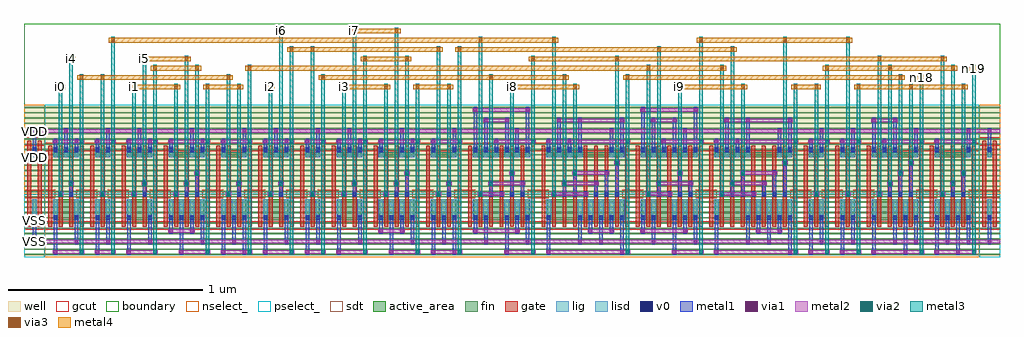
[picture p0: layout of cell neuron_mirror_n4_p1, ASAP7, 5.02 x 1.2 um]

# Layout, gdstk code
import gdstk
lib = gdstk.Library(unit=1e-6, precision=2.5e-10)
def R(c, l, rs):  # rectangles x0, y0, x1, y1
    for r in rs: c.add(gdstk.rectangle(r[:2], r[2:], *l))
def A(c, l, x, y, w, h, nx, ny, dx, dy):  # array of equal rectangles
    R(c, l, [(x+i*dx, y+j*dy, x+i*dx+w, y+j*dy+h) for i in range(nx) for j in range(ny)])
well = (1, 0)
fin = (2, 0)
gate = (7, 0)
gcut = (10, 0)
active_area = (11, 0)
nselect_ = (12, 0)
pselect_ = (13, 0)
lig = (16, 0)
lisd = (17, 0)
v0 = (18, 0)
metal1 = (19, 0)
metal2 = (20, 0)
via1 = (21, 0)
via2 = (25, 0)
metal3 = (30, 0)
via3 = (35, 0)
metal4 = (40, 0)
sdt = (88, 0)
boundary = (100, 0)

neuron_mirror_n4_p1 = lib.new_cell('neuron_mirror_n4_p1')
R(neuron_mirror_n4_p1, well, [(0,0.324,0.108,0.783), (0.108,0.324,0.324,0.783), (0.324,0.324,0.486,0.783), (0.486,0.324,0.702,0.783), (0.702,0.324,0.972,0.783), (0.972,0.324,1.188,0.783), (1.188,0.324,1.404,0.783), (1.404,0.324,1.566,0.783), (1.566,0.324,1.782,0.783), (1.782,0.324,2.052,0.783), (2.052,0.324,2.268,0.783), (2.268,0.324,2.646,0.783), (2.646,0.324,3.132,0.783), (3.132,0.324,3.51,0.783), (3.51,0.324,3.996,0.783), (3.996,0.324,4.158,0.783), (4.158,0.324,4.32,0.783), (4.32,0.324,4.644,0.783), (4.644,0.324,4.914,0.783), (4.914,0.324,5.022,0.783)])
A(neuron_mirror_n4_p1, fin, 0, 0.01, 0.108, 0.007, 1, 29, 0, 0.027)
A(neuron_mirror_n4_p1, fin, 0.108, 0.01, 0.216, 0.007, 1, 29, 0, 0.027)
A(neuron_mirror_n4_p1, fin, 0.324, 0.01, 0.162, 0.007, 1, 29, 0, 0.027)
A(neuron_mirror_n4_p1, fin, 0.486, 0.01, 0.216, 0.007, 1, 29, 0, 0.027)
A(neuron_mirror_n4_p1, fin, 0.702, 0.01, 0.27, 0.007, 1, 29, 0, 0.027)
A(neuron_mirror_n4_p1, fin, 0.972, 0.01, 0.216, 0.007, 1, 29, 0, 0.027)
A(neuron_mirror_n4_p1, fin, 1.188, 0.01, 0.216, 0.007, 1, 29, 0, 0.027)
A(neuron_mirror_n4_p1, fin, 1.404, 0.01, 0.162, 0.007, 1, 29, 0, 0.027)
A(neuron_mirror_n4_p1, fin, 1.566, 0.01, 0.216, 0.007, 1, 29, 0, 0.027)
A(neuron_mirror_n4_p1, fin, 1.782, 0.01, 0.27, 0.007, 1, 29, 0, 0.027)
A(neuron_mirror_n4_p1, fin, 2.052, 0.01, 0.216, 0.007, 1, 29, 0, 0.027)
A(neuron_mirror_n4_p1, fin, 2.268, 0.01, 0.378, 0.007, 1, 29, 0, 0.027)
A(neuron_mirror_n4_p1, fin, 2.646, 0.01, 0.486, 0.007, 1, 29, 0, 0.027)
A(neuron_mirror_n4_p1, fin, 3.132, 0.01, 0.378, 0.007, 1, 29, 0, 0.027)
A(neuron_mirror_n4_p1, fin, 3.51, 0.01, 0.486, 0.007, 1, 29, 0, 0.027)
A(neuron_mirror_n4_p1, fin, 3.996, 0.01, 0.162, 0.007, 1, 29, 0, 0.027)
A(neuron_mirror_n4_p1, fin, 4.158, 0.01, 0.162, 0.007, 1, 29, 0, 0.027)
A(neuron_mirror_n4_p1, fin, 4.32, 0.01, 0.324, 0.007, 1, 29, 0, 0.027)
A(neuron_mirror_n4_p1, fin, 4.644, 0.01, 0.27, 0.007, 1, 29, 0, 0.027)
A(neuron_mirror_n4_p1, fin, 4.914, 0.01, 0.108, 0.007, 1, 29, 0, 0.027)
A(neuron_mirror_n4_p1, gate, 0.125, 0.157, 0.02, 0.415, 89, 1, 0.054, 0)
R(neuron_mirror_n4_p1, gate, [(0.017,0.157,0.037,0.599), (0.071,0.157,0.091,0.599), (4.931,0.157,4.951,0.599), (4.985,0.157,5.005,0.599)])
R(neuron_mirror_n4_p1, gcut, [(0,0.14,0.108,0.184), (0.108,0.14,0.324,0.184), (0.324,0.14,0.486,0.184), (0.486,0.14,0.702,0.184), (0.702,0.14,0.972,0.184), (0.972,0.14,1.188,0.184), (1.188,0.14,1.404,0.184), (1.404,0.14,1.566,0.184), (1.566,0.14,1.782,0.184), (1.782,0.14,2.052,0.184), (2.052,0.14,2.268,0.184), (2.268,0.14,2.646,0.184), (2.646,0.14,3.132,0.184), (3.132,0.14,3.51,0.184), (3.51,0.14,3.996,0.184), (3.996,0.14,4.158,0.184), (4.158,0.14,4.32,0.184), (4.32,0.14,4.644,0.184), (4.644,0.14,4.914,0.184), (4.914,0.14,5.022,0.184), (0,0.302,0.108,0.346), (0.108,0.302,0.162,0.346), (0.27,0.302,0.324,0.346), (0.324,0.302,0.378,0.346), (0.432,0.302,0.486,0.346), (0.486,0.302,0.54,0.346), (0.648,0.302,0.702,0.346), (0.702,0.302,0.756,0.346), (0.918,0.302,0.972,0.346), (0.972,0.302,1.026,0.346), (1.134,0.302,1.188,0.346), (1.188,0.302,1.242,0.346), (1.35,0.302,1.404,0.346), (1.404,0.302,1.458,0.346), (1.512,0.302,1.566,0.346), (1.566,0.302,1.62,0.346), (1.728,0.302,1.782,0.346), (1.782,0.302,1.836,0.346), (1.998,0.302,2.052,0.346), (2.052,0.302,2.106,0.346), (2.214,0.302,2.268,0.346), (2.268,0.302,2.322,0.346), (2.592,0.302,2.646,0.346), (2.646,0.302,2.7,0.346), (3.078,0.302,3.132,0.346), (3.132,0.302,3.186,0.346), (3.456,0.302,3.51,0.346), (3.51,0.302,3.564,0.346), (3.942,0.302,3.996,0.346), (3.996,0.302,4.05,0.346), (4.104,0.302,4.158,0.346), (4.158,0.302,4.212,0.346), (4.266,0.302,4.32,0.346), (4.32,0.302,4.374,0.346), (4.59,0.302,4.644,0.346), (4.644,0.302,4.698,0.346), (4.86,0.302,4.914,0.346), (4.914,0.302,5.022,0.346), (0.108,0.545,0.324,0.589), (0.324,0.545,0.486,0.589), (0.486,0.545,0.702,0.589), (0.702,0.545,0.972,0.589), (0.972,0.545,1.188,0.589), (1.188,0.545,1.404,0.589), (1.404,0.545,1.566,0.589), (1.566,0.545,1.782,0.589), (1.782,0.545,2.052,0.589), (2.052,0.545,2.268,0.589), (2.268,0.545,2.646,0.589), (2.646,0.545,3.132,0.589), (3.132,0.545,3.51,0.589), (3.51,0.545,3.996,0.589), (3.996,0.545,4.158,0.589), (4.158,0.545,4.32,0.589), (4.32,0.545,4.644,0.589), (4.644,0.545,4.914,0.589), (0,0.572,0.108,0.616), (4.914,0.572,5.022,0.616)])
R(neuron_mirror_n4_p1, active_area, [(0.046,0.189,0.062,0.297), (0.154,0.189,0.278,0.297), (0.37,0.189,0.44,0.297), (0.532,0.189,0.656,0.297), (0.748,0.189,0.926,0.297), (1.018,0.189,1.142,0.297), (1.234,0.189,1.358,0.297), (1.45,0.189,1.52,0.297), (1.612,0.189,1.736,0.297), (1.828,0.189,2.006,0.297), (2.098,0.189,2.222,0.297), (2.314,0.189,2.6,0.297), (2.692,0.189,3.086,0.297), (3.178,0.189,3.464,0.297), (3.556,0.189,3.95,0.297), (4.042,0.189,4.112,0.297), (4.204,0.189,4.274,0.297), (4.366,0.189,4.598,0.297), (4.69,0.189,4.868,0.297), (4.96,0.189,4.976,0.297), (0.046,0.513,0.062,0.567), (0.154,0.513,0.278,0.54), (0.37,0.513,0.44,0.54), (0.532,0.513,0.656,0.54), (0.748,0.513,0.926,0.54), (1.018,0.513,1.142,0.54), (1.234,0.513,1.358,0.54), (1.45,0.513,1.52,0.54), (1.612,0.513,1.736,0.54), (1.828,0.513,2.006,0.54), (2.098,0.513,2.222,0.54), (2.314,0.513,2.6,0.54), (2.692,0.513,3.086,0.54), (3.178,0.513,3.464,0.54), (3.556,0.513,3.95,0.54), (4.042,0.513,4.112,0.54), (4.204,0.513,4.274,0.54), (4.366,0.513,4.598,0.54), (4.69,0.513,4.868,0.54), (4.96,0.513,4.976,0.567)])
R(neuron_mirror_n4_p1, nselect_, [(0.108,0,0.324,0.324), (0.324,0,0.486,0.324), (0.486,0,0.702,0.324), (0.702,0,0.972,0.324), (0.972,0,1.188,0.324), (1.188,0,1.404,0.324), (1.404,0,1.566,0.324), (1.566,0,1.782,0.324), (1.782,0,2.052,0.324), (2.052,0,2.268,0.324), (2.268,0,2.646,0.324), (2.646,0,3.132,0.324), (3.132,0,3.51,0.324), (3.51,0,3.996,0.324), (3.996,0,4.158,0.324), (4.158,0,4.32,0.324), (4.32,0,4.644,0.324), (4.644,0,4.914,0.324), (0,0.324,0.108,0.783), (4.914,0.324,5.022,0.783)])
R(neuron_mirror_n4_p1, pselect_, [(0,0,0.108,0.324), (4.914,0,5.022,0.324), (0.108,0.324,0.324,0.783), (0.324,0.324,0.486,0.783), (0.486,0.324,0.702,0.783), (0.702,0.324,0.972,0.783), (0.972,0.324,1.188,0.783), (1.188,0.324,1.404,0.783), (1.404,0.324,1.566,0.783), (1.566,0.324,1.782,0.783), (1.782,0.324,2.052,0.783), (2.052,0.324,2.268,0.783), (2.268,0.324,2.646,0.783), (2.646,0.324,3.132,0.783), (3.132,0.324,3.51,0.783), (3.51,0.324,3.996,0.783), (3.996,0.324,4.158,0.783), (4.158,0.324,4.32,0.783), (4.32,0.324,4.644,0.783), (4.644,0.324,4.914,0.783)])
A(neuron_mirror_n4_p1, lig, 0.232, 0.313, 0.022, 0.022, 3, 1, 0.162, 0)
A(neuron_mirror_n4_p1, lig, 0.772, 0.313, 0.022, 0.022, 3, 1, 0.054, 0)
A(neuron_mirror_n4_p1, lig, 1.312, 0.313, 0.022, 0.022, 3, 1, 0.162, 0)
A(neuron_mirror_n4_p1, lig, 1.852, 0.313, 0.022, 0.022, 3, 1, 0.054, 0)
A(neuron_mirror_n4_p1, lig, 2.338, 0.313, 0.022, 0.022, 5, 1, 0.054, 0)
A(neuron_mirror_n4_p1, lig, 2.716, 0.313, 0.022, 0.022, 7, 1, 0.054, 0)
A(neuron_mirror_n4_p1, lig, 3.202, 0.313, 0.022, 0.022, 5, 1, 0.054, 0)
A(neuron_mirror_n4_p1, lig, 3.58, 0.313, 0.022, 0.022, 7, 1, 0.054, 0)
A(neuron_mirror_n4_p1, lig, 4.066, 0.313, 0.022, 0.022, 3, 1, 0.162, 0)
A(neuron_mirror_n4_p1, lig, 4.444, 0.313, 0.022, 0.022, 3, 1, 0.054, 0)
A(neuron_mirror_n4_p1, lig, 4.714, 0.313, 0.022, 0.022, 3, 1, 0.054, 0)
R(neuron_mirror_n4_p1, lig, [(0.178,0.313,0.2,0.335), (0.61,0.313,0.632,0.335), (1.042,0.313,1.064,0.335), (1.096,0.313,1.118,0.335), (1.258,0.313,1.28,0.335), (1.69,0.313,1.712,0.335), (2.122,0.313,2.144,0.335), (2.176,0.313,2.198,0.335)])
A(neuron_mirror_n4_p1, lisd, 0.042, 0.189, 0.024, 0.108, 4, 1, 0.108, 0)
A(neuron_mirror_n4_p1, lisd, 0.42, 0.189, 0.024, 0.108, 4, 1, 0.108, 0)
A(neuron_mirror_n4_p1, lisd, 0.798, 0.189, 0.024, 0.108, 3, 1, 0.054, 0)
A(neuron_mirror_n4_p1, lisd, 1.014, 0.189, 0.024, 0.108, 3, 1, 0.054, 0)
A(neuron_mirror_n4_p1, lisd, 1.23, 0.189, 0.024, 0.108, 3, 1, 0.108, 0)
A(neuron_mirror_n4_p1, lisd, 1.5, 0.189, 0.024, 0.108, 4, 1, 0.108, 0)
A(neuron_mirror_n4_p1, lisd, 1.878, 0.189, 0.024, 0.108, 3, 1, 0.054, 0)
A(neuron_mirror_n4_p1, lisd, 2.094, 0.189, 0.024, 0.108, 3, 1, 0.054, 0)
A(neuron_mirror_n4_p1, lisd, 2.472, 0.189, 0.024, 0.108, 3, 1, 0.054, 0)
A(neuron_mirror_n4_p1, lisd, 2.85, 0.189, 0.024, 0.108, 5, 1, 0.054, 0)
A(neuron_mirror_n4_p1, lisd, 3.336, 0.189, 0.024, 0.108, 3, 1, 0.054, 0)
A(neuron_mirror_n4_p1, lisd, 3.714, 0.189, 0.024, 0.108, 5, 1, 0.054, 0)
A(neuron_mirror_n4_p1, lisd, 4.254, 0.189, 0.024, 0.108, 3, 1, 0.108, 0)
A(neuron_mirror_n4_p1, lisd, 4.686, 0.189, 0.024, 0.108, 4, 1, 0.054, 0)
A(neuron_mirror_n4_p1, lisd, 0.15, 0.513, 0.024, 0.054, 3, 1, 0.054, 0)
A(neuron_mirror_n4_p1, lisd, 0.528, 0.513, 0.024, 0.054, 3, 1, 0.054, 0)
A(neuron_mirror_n4_p1, lisd, 0.906, 0.513, 0.024, 0.054, 4, 1, 0.108, 0)
A(neuron_mirror_n4_p1, lisd, 1.608, 0.513, 0.024, 0.054, 3, 1, 0.054, 0)
A(neuron_mirror_n4_p1, lisd, 1.986, 0.513, 0.024, 0.054, 4, 1, 0.108, 0)
A(neuron_mirror_n4_p1, lisd, 2.364, 0.513, 0.024, 0.054, 5, 1, 0.054, 0)
A(neuron_mirror_n4_p1, lisd, 2.688, 0.513, 0.024, 0.054, 4, 1, 0.054, 0)
A(neuron_mirror_n4_p1, lisd, 3.174, 0.513, 0.024, 0.054, 6, 1, 0.054, 0)
A(neuron_mirror_n4_p1, lisd, 3.552, 0.513, 0.024, 0.054, 4, 1, 0.054, 0)
A(neuron_mirror_n4_p1, lisd, 4.362, 0.513, 0.024, 0.054, 3, 1, 0.054, 0)
R(neuron_mirror_n4_p1, lisd, [(2.31,0.189,2.334,0.297), (2.364,0.189,2.388,0.297), (2.688,0.189,2.712,0.297), (3.174,0.189,3.198,0.297), (3.228,0.189,3.252,0.297), (3.552,0.189,3.576,0.297), (4.038,0.189,4.062,0.297), (4.092,0.189,4.116,0.297), (4.2,0.189,4.224,0.297), (4.524,0.189,4.548,0.297), (4.578,0.189,4.602,0.297), (4.956,0.189,4.98,0.297), (0.042,0.513,0.066,0.567), (0.366,0.513,0.39,0.567), (0.42,0.513,0.444,0.567), (0.744,0.513,0.768,0.567), (0.852,0.513,0.876,0.567), (1.284,0.513,1.308,0.567), (1.338,0.513,1.362,0.567), (1.446,0.513,1.47,0.567), (1.5,0.513,1.524,0.567), (1.824,0.513,1.848,0.567), (1.932,0.513,1.956,0.567), (3.012,0.513,3.036,0.567), (3.066,0.513,3.09,0.567), (3.876,0.513,3.9,0.567), (3.93,0.513,3.954,0.567), (4.038,0.513,4.062,0.567), (4.092,0.513,4.116,0.567), (4.2,0.513,4.224,0.567), (4.254,0.513,4.278,0.567), (4.578,0.513,4.602,0.567), (4.686,0.513,4.71,0.567), (4.848,0.513,4.872,0.567), (4.956,0.513,4.98,0.567)])
A(neuron_mirror_n4_p1, v0, 0.045, 0.1935, 0.018, 0.018, 4, 1, 0.108, 0)
A(neuron_mirror_n4_p1, v0, 0.423, 0.1935, 0.018, 0.018, 4, 1, 0.108, 0)
A(neuron_mirror_n4_p1, v0, 0.801, 0.1935, 0.018, 0.018, 3, 1, 0.054, 0)
A(neuron_mirror_n4_p1, v0, 1.017, 0.1935, 0.018, 0.018, 3, 1, 0.054, 0)
A(neuron_mirror_n4_p1, v0, 1.233, 0.1935, 0.018, 0.018, 3, 1, 0.108, 0)
A(neuron_mirror_n4_p1, v0, 1.503, 0.1935, 0.018, 0.018, 4, 1, 0.108, 0)
A(neuron_mirror_n4_p1, v0, 1.881, 0.1935, 0.018, 0.018, 3, 1, 0.054, 0)
A(neuron_mirror_n4_p1, v0, 2.097, 0.1935, 0.018, 0.018, 3, 1, 0.054, 0)
A(neuron_mirror_n4_p1, v0, 2.475, 0.1935, 0.018, 0.018, 3, 1, 0.054, 0)
A(neuron_mirror_n4_p1, v0, 2.853, 0.1935, 0.018, 0.018, 5, 1, 0.054, 0)
A(neuron_mirror_n4_p1, v0, 3.339, 0.1935, 0.018, 0.018, 3, 1, 0.054, 0)
A(neuron_mirror_n4_p1, v0, 3.717, 0.1935, 0.018, 0.018, 5, 1, 0.054, 0)
A(neuron_mirror_n4_p1, v0, 4.257, 0.1935, 0.018, 0.018, 3, 1, 0.108, 0)
A(neuron_mirror_n4_p1, v0, 4.689, 0.1935, 0.018, 0.018, 4, 1, 0.054, 0)
A(neuron_mirror_n4_p1, v0, 0.234, 0.315, 0.018, 0.018, 3, 1, 0.162, 0)
A(neuron_mirror_n4_p1, v0, 0.774, 0.315, 0.018, 0.018, 3, 1, 0.054, 0)
A(neuron_mirror_n4_p1, v0, 1.314, 0.315, 0.018, 0.018, 3, 1, 0.162, 0)
A(neuron_mirror_n4_p1, v0, 1.854, 0.315, 0.018, 0.018, 3, 1, 0.054, 0)
A(neuron_mirror_n4_p1, v0, 2.34, 0.315, 0.018, 0.018, 5, 1, 0.054, 0)
A(neuron_mirror_n4_p1, v0, 2.718, 0.315, 0.018, 0.018, 7, 1, 0.054, 0)
A(neuron_mirror_n4_p1, v0, 3.204, 0.315, 0.018, 0.018, 5, 1, 0.054, 0)
A(neuron_mirror_n4_p1, v0, 3.582, 0.315, 0.018, 0.018, 7, 1, 0.054, 0)
A(neuron_mirror_n4_p1, v0, 4.068, 0.315, 0.018, 0.018, 3, 1, 0.162, 0)
A(neuron_mirror_n4_p1, v0, 4.446, 0.315, 0.018, 0.018, 3, 1, 0.054, 0)
A(neuron_mirror_n4_p1, v0, 4.716, 0.315, 0.018, 0.018, 3, 1, 0.054, 0)
A(neuron_mirror_n4_p1, v0, 0.153, 0.5445, 0.018, 0.018, 3, 1, 0.054, 0)
A(neuron_mirror_n4_p1, v0, 0.531, 0.5445, 0.018, 0.018, 3, 1, 0.054, 0)
A(neuron_mirror_n4_p1, v0, 0.909, 0.5445, 0.018, 0.018, 4, 1, 0.108, 0)
A(neuron_mirror_n4_p1, v0, 1.611, 0.5445, 0.018, 0.018, 3, 1, 0.054, 0)
A(neuron_mirror_n4_p1, v0, 1.989, 0.5445, 0.018, 0.018, 4, 1, 0.108, 0)
A(neuron_mirror_n4_p1, v0, 2.367, 0.5445, 0.018, 0.018, 5, 1, 0.054, 0)
A(neuron_mirror_n4_p1, v0, 2.691, 0.5445, 0.018, 0.018, 4, 1, 0.054, 0)
A(neuron_mirror_n4_p1, v0, 3.177, 0.5445, 0.018, 0.018, 6, 1, 0.054, 0)
A(neuron_mirror_n4_p1, v0, 3.555, 0.5445, 0.018, 0.018, 4, 1, 0.054, 0)
A(neuron_mirror_n4_p1, v0, 4.365, 0.5445, 0.018, 0.018, 3, 1, 0.054, 0)
R(neuron_mirror_n4_p1, v0, [(2.313,0.1935,2.331,0.2115), (2.367,0.1935,2.385,0.2115), (2.691,0.1935,2.709,0.2115), (3.177,0.1935,3.195,0.2115), (3.231,0.1935,3.249,0.2115), (3.555,0.1935,3.573,0.2115), (4.041,0.1935,4.059,0.2115), (4.095,0.1935,4.113,0.2115), (4.203,0.1935,4.221,0.2115), (4.527,0.1935,4.545,0.2115), (4.581,0.1935,4.599,0.2115), (4.959,0.1935,4.977,0.2115), (0.18,0.315,0.198,0.333), (0.612,0.315,0.63,0.333), (1.044,0.315,1.062,0.333), (1.098,0.315,1.116,0.333), (1.26,0.315,1.278,0.333), (1.692,0.315,1.71,0.333), (2.124,0.315,2.142,0.333), (2.178,0.315,2.196,0.333), (0.045,0.5445,0.063,0.5625), (0.369,0.5445,0.387,0.5625), (0.423,0.5445,0.441,0.5625), (0.747,0.5445,0.765,0.5625), (0.855,0.5445,0.873,0.5625), (1.287,0.5445,1.305,0.5625), (1.341,0.5445,1.359,0.5625), (1.449,0.5445,1.467,0.5625), (1.503,0.5445,1.521,0.5625), (1.827,0.5445,1.845,0.5625), (1.935,0.5445,1.953,0.5625), (3.015,0.5445,3.033,0.5625), (3.069,0.5445,3.087,0.5625), (3.879,0.5445,3.897,0.5625), (3.933,0.5445,3.951,0.5625), (4.041,0.5445,4.059,0.5625), (4.095,0.5445,4.113,0.5625), (4.203,0.5445,4.221,0.5625), (4.257,0.5445,4.275,0.5625), (4.581,0.5445,4.599,0.5625), (4.689,0.5445,4.707,0.5625), (4.851,0.5445,4.869,0.5625), (4.959,0.5445,4.977,0.5625)])
A(neuron_mirror_n4_p1, metal1, 1.017, 0.013, 0.018, 0.2035, 3, 1, 0.108, 0)
A(neuron_mirror_n4_p1, metal1, 4.041, 0.013, 0.018, 0.2035, 5, 1, 0.162, 0)
A(neuron_mirror_n4_p1, metal1, 2.151, 0.067, 0.018, 0.1495, 3, 1, 0.216, 0)
A(neuron_mirror_n4_p1, metal1, 4.743, 0.067, 0.018, 0.1495, 3, 1, 0.108, 0)
A(neuron_mirror_n4_p1, metal1, 1.044, 0.31, 0.018, 0.028, 3, 1, 0.216, 0)
A(neuron_mirror_n4_p1, metal1, 4.068, 0.31, 0.018, 0.028, 3, 1, 0.162, 0)
A(neuron_mirror_n4_p1, metal1, 0.153, 0.5395, 0.018, 0.0685, 3, 1, 0.108, 0)
A(neuron_mirror_n4_p1, metal1, 0.531, 0.5395, 0.018, 0.0685, 3, 1, 0.108, 0)
A(neuron_mirror_n4_p1, metal1, 0.585, 0.5395, 0.018, 0.1225, 3, 1, 0.27, 0)
A(neuron_mirror_n4_p1, metal1, 1.233, 0.5395, 0.018, 0.0685, 3, 1, 0.108, 0)
A(neuron_mirror_n4_p1, metal1, 1.611, 0.5395, 0.018, 0.0685, 3, 1, 0.108, 0)
A(neuron_mirror_n4_p1, metal1, 1.665, 0.5395, 0.018, 0.1225, 3, 1, 0.27, 0)
R(neuron_mirror_n4_p1, metal1, [(0.153,0.013,0.171,0.2165), (0.369,0.013,0.387,0.2165), (0.531,0.013,0.549,0.2165), (0.801,0.013,0.819,0.2165), (1.449,0.013,1.467,0.2165), (1.611,0.013,1.629,0.2165), (1.881,0.013,1.899,0.2165), (2.097,0.013,2.115,0.2165), (2.205,0.013,2.223,0.2165), (2.475,0.013,2.493,0.2165), (2.691,0.013,2.709,0.2165), (3.069,0.013,3.087,0.2165), (3.339,0.013,3.357,0.2165), (3.555,0.013,3.573,0.2165), (3.933,0.013,3.951,0.2165), (4.797,0.013,4.815,0.2165), (0.045,0.067,0.063,0.2165), (0.261,0.067,0.279,0.2165), (0.423,0.067,0.441,0.2165), (0.639,0.067,0.657,0.2165), (0.909,0.067,0.927,0.2165), (1.071,0.067,1.089,0.2165), (1.341,0.067,1.359,0.2165), (1.503,0.067,1.521,0.2165), (1.719,0.067,1.737,0.2165), (1.989,0.067,2.007,0.2165), (2.853,0.067,2.871,0.2165), (2.961,0.067,2.979,0.2165), (3.231,0.067,3.249,0.2165), (3.447,0.067,3.465,0.2165), (3.717,0.067,3.735,0.2165), (3.825,0.067,3.843,0.2165), (4.095,0.067,4.113,0.2165), (4.257,0.067,4.275,0.2165), (4.473,0.067,4.491,0.2165), (4.581,0.067,4.599,0.2165), (0.747,0.121,0.765,0.2165), (0.855,0.121,0.873,0.2165), (1.827,0.121,1.845,0.2165), (1.935,0.121,1.953,0.2165), (2.313,0.121,2.331,0.2165), (2.529,0.121,2.547,0.2165), (2.907,0.121,2.925,0.2165), (3.015,0.121,3.033,0.2165), (3.177,0.121,3.195,0.2165), (3.393,0.121,3.411,0.2165), (3.771,0.121,3.789,0.2165), (3.879,0.121,3.897,0.2165), (0.18,0.31,0.198,0.338), (0.234,0.31,0.252,0.392), (0.396,0.31,0.414,0.338), (0.558,0.31,0.576,0.338), (0.612,0.31,0.63,0.392), (0.774,0.31,0.792,0.338), (0.828,0.31,0.846,0.392), (0.882,0.31,0.9,0.446), (1.098,0.31,1.116,0.392), (1.314,0.31,1.332,0.392), (1.638,0.31,1.656,0.338), (1.692,0.31,1.71,0.392), (1.854,0.31,1.872,0.338), (1.908,0.31,1.926,0.392), (1.962,0.31,1.98,0.446), (2.124,0.31,2.142,0.338), (2.178,0.31,2.196,0.392), (2.34,0.31,2.358,0.338), (2.394,0.31,2.412,0.392), (2.448,0.31,2.466,0.338), (2.502,0.31,2.52,0.446), (2.556,0.31,2.574,0.392), (2.718,0.31,2.736,0.338), (2.772,0.31,2.79,0.392), (2.826,0.31,2.844,0.446), (2.88,0.31,2.898,0.338), (2.934,0.31,2.952,0.392), (2.988,0.31,3.006,0.446), (3.042,0.31,3.06,0.5), (3.204,0.31,3.222,0.338), (3.258,0.31,3.276,0.392), (3.312,0.31,3.33,0.338), (3.366,0.31,3.384,0.446), (3.42,0.31,3.438,0.392), (3.582,0.31,3.6,0.338), (3.636,0.31,3.654,0.392), (3.69,0.31,3.708,0.446), (3.744,0.31,3.762,0.338), (3.798,0.31,3.816,0.392), (3.852,0.31,3.87,0.446), (3.906,0.31,3.924,0.5), (4.446,0.31,4.464,0.392), (4.5,0.31,4.518,0.446), (4.554,0.31,4.572,0.5), (4.716,0.31,4.734,0.338), (4.77,0.31,4.788,0.392), (4.824,0.31,4.842,0.446), (0.045,0.5395,0.063,0.662), (0.207,0.5395,0.225,0.662), (0.423,0.5395,0.441,0.662), (0.909,0.5395,0.927,0.608), (1.017,0.5395,1.035,0.608), (1.287,0.5395,1.305,0.662), (1.503,0.5395,1.521,0.662), (1.989,0.5395,2.007,0.608), (2.097,0.5395,2.115,0.608), (2.313,0.5395,2.331,0.77), (2.367,0.5395,2.385,0.716), (2.421,0.5395,2.439,0.608), (2.475,0.5395,2.493,0.716), (2.529,0.5395,2.547,0.662), (2.583,0.5395,2.601,0.77), (2.691,0.5395,2.709,0.608), (2.745,0.5395,2.763,0.716), (2.799,0.5395,2.817,0.608), (2.853,0.5395,2.871,0.716), (3.015,0.5395,3.033,0.662), (3.069,0.5395,3.087,0.716), (3.177,0.5395,3.195,0.77), (3.231,0.5395,3.249,0.716), (3.285,0.5395,3.303,0.608), (3.339,0.5395,3.357,0.716), (3.393,0.5395,3.411,0.662), (3.447,0.5395,3.465,0.77), (3.555,0.5395,3.573,0.608), (3.609,0.5395,3.627,0.716), (3.663,0.5395,3.681,0.608), (3.717,0.5395,3.735,0.716), (3.879,0.5395,3.897,0.662), (3.933,0.5395,3.951,0.716), (4.041,0.5395,4.059,0.608), (4.095,0.5395,4.113,0.662), (4.203,0.5395,4.221,0.608), (4.257,0.5395,4.275,0.662), (4.365,0.5395,4.383,0.716), (4.419,0.5395,4.437,0.608), (4.473,0.5395,4.491,0.716), (4.581,0.5395,4.599,0.662), (4.689,0.5395,4.707,0.608), (4.851,0.5395,4.869,0.662), (4.959,0.5395,4.977,0.662)])
A(neuron_mirror_n4_p1, metal2, 0.796, 0.018, 0.163, 0.018, 3, 1, 0.216, 0)
A(neuron_mirror_n4_p1, metal2, 0.742, 0.126, 0.136, 0.018, 3, 1, 1.08, 0)
A(neuron_mirror_n4_p1, metal2, 1.039, 0.315, 0.028, 0.018, 3, 1, 0.216, 0)
A(neuron_mirror_n4_p1, metal2, 4.063, 0.315, 0.028, 0.018, 3, 1, 0.162, 0)
A(neuron_mirror_n4_p1, metal2, 0.58, 0.639, 0.028, 0.018, 3, 1, 0.27, 0)
A(neuron_mirror_n4_p1, metal2, 1.66, 0.639, 0.028, 0.018, 3, 1, 0.27, 0)
R(neuron_mirror_n4_p1, metal2, [(0.148,0.018,0.311,0.036), (0.364,0.018,0.473,0.036), (0.526,0.018,0.689,0.036), (1.444,0.018,1.553,0.036), (1.606,0.018,1.769,0.036), (1.876,0.018,2.039,0.036), (2.092,0.018,2.255,0.036), (2.47,0.018,2.633,0.036), (2.686,0.018,3.119,0.036), (3.334,0.018,3.497,0.036), (3.55,0.018,3.983,0.036), (4.036,0.018,4.145,0.036), (4.198,0.018,4.307,0.036), (4.36,0.018,4.631,0.036), (4.684,0.018,4.901,0.036), (0,0.072,5.022,0.09), (0.04,0.072,0.068,0.09), (0.256,0.072,0.284,0.09), (0.418,0.072,0.446,0.09), (0.634,0.072,0.662,0.09), (0.904,0.072,0.932,0.09), (1.066,0.072,1.094,0.09), (1.336,0.072,1.364,0.09), (1.498,0.072,1.526,0.09), (1.714,0.072,1.742,0.09), (1.984,0.072,2.012,0.09), (2.146,0.072,2.174,0.09), (2.362,0.072,2.606,0.09), (2.848,0.072,2.984,0.09), (3.226,0.072,3.47,0.09), (3.712,0.072,3.848,0.09), (4.09,0.072,4.118,0.09), (4.252,0.072,4.28,0.09), (4.468,0.072,4.604,0.09), (4.738,0.072,4.874,0.09), (4.954,0.072,4.982,0.09), (2.308,0.126,2.552,0.144), (3.172,0.126,3.416,0.144), (3.766,0.126,3.902,0.144), (0.175,0.315,0.203,0.333), (0.391,0.315,0.419,0.333), (0.553,0.315,0.581,0.333), (0.769,0.315,0.797,0.333), (1.633,0.315,1.661,0.333), (1.849,0.315,1.877,0.333), (2.119,0.315,2.147,0.333), (2.335,0.315,2.471,0.333), (2.713,0.315,2.903,0.333), (3.199,0.315,3.335,0.333), (3.577,0.315,3.767,0.333), (4.711,0.315,4.739,0.333), (0.229,0.369,0.257,0.387), (0.607,0.369,0.635,0.387), (0.823,0.369,0.851,0.387), (1.093,0.369,1.121,0.387), (1.309,0.369,1.337,0.387), (1.687,0.369,1.715,0.387), (1.903,0.369,1.931,0.387), (2.173,0.369,2.201,0.387), (2.389,0.369,2.579,0.387), (2.767,0.369,2.957,0.387), (3.253,0.369,3.443,0.387), (3.631,0.369,3.821,0.387), (4.441,0.369,4.469,0.387), (4.765,0.369,4.793,0.387), (0.877,0.423,0.905,0.441), (1.957,0.423,1.985,0.441), (2.497,0.423,2.525,0.441), (2.821,0.423,3.011,0.441), (3.361,0.423,3.389,0.441), (3.685,0.423,3.875,0.441), (4.495,0.423,4.523,0.441), (4.819,0.423,4.847,0.441), (3.037,0.477,3.065,0.495), (3.901,0.477,3.929,0.495), (4.549,0.477,4.577,0.495), (0.148,0.585,0.311,0.603), (0.364,0.585,0.473,0.603), (0.526,0.585,0.689,0.603), (0.742,0.585,0.959,0.603), (1.012,0.585,1.175,0.603), (1.228,0.585,1.391,0.603), (1.444,0.585,1.553,0.603), (1.606,0.585,1.769,0.603), (1.822,0.585,2.039,0.603), (2.092,0.585,2.255,0.603), (2.416,0.585,2.633,0.603), (2.686,0.585,3.119,0.603), (3.28,0.585,3.497,0.603), (3.55,0.585,3.983,0.603), (4.036,0.585,4.145,0.603), (4.198,0.585,4.307,0.603), (4.414,0.585,4.631,0.603), (4.684,0.585,4.901,0.603), (0,0.639,5.022,0.657), (0.04,0.639,0.068,0.657), (0.202,0.639,0.23,0.657), (0.418,0.639,0.446,0.657), (1.282,0.639,1.31,0.657), (1.498,0.639,1.526,0.657), (2.524,0.639,2.552,0.657), (3.01,0.639,3.038,0.657), (3.388,0.639,3.416,0.657), (3.874,0.639,3.902,0.657), (4.09,0.639,4.118,0.657), (4.252,0.639,4.28,0.657), (4.576,0.639,4.604,0.657), (4.846,0.639,4.874,0.657), (4.954,0.639,4.982,0.657), (2.362,0.693,2.498,0.711), (2.74,0.693,3.092,0.711), (3.226,0.693,3.362,0.711), (3.604,0.693,3.956,0.711), (4.36,0.693,4.496,0.711), (2.308,0.747,2.606,0.765), (3.172,0.747,3.47,0.765)])
A(neuron_mirror_n4_p1, via1, 1.017, 0.018, 0.018, 0.018, 3, 1, 0.108, 0)
A(neuron_mirror_n4_p1, via1, 4.041, 0.018, 0.018, 0.018, 5, 1, 0.162, 0)
A(neuron_mirror_n4_p1, via1, 2.151, 0.072, 0.018, 0.018, 3, 1, 0.216, 0)
A(neuron_mirror_n4_p1, via1, 4.743, 0.072, 0.018, 0.018, 3, 1, 0.108, 0)
A(neuron_mirror_n4_p1, via1, 1.044, 0.315, 0.018, 0.018, 3, 1, 0.216, 0)
A(neuron_mirror_n4_p1, via1, 4.068, 0.315, 0.018, 0.018, 3, 1, 0.162, 0)
A(neuron_mirror_n4_p1, via1, 0.153, 0.585, 0.018, 0.018, 3, 1, 0.108, 0)
A(neuron_mirror_n4_p1, via1, 0.531, 0.585, 0.018, 0.018, 3, 1, 0.108, 0)
A(neuron_mirror_n4_p1, via1, 1.233, 0.585, 0.018, 0.018, 3, 1, 0.108, 0)
A(neuron_mirror_n4_p1, via1, 1.611, 0.585, 0.018, 0.018, 3, 1, 0.108, 0)
A(neuron_mirror_n4_p1, via1, 0.585, 0.639, 0.018, 0.018, 3, 1, 0.27, 0)
A(neuron_mirror_n4_p1, via1, 1.665, 0.639, 0.018, 0.018, 3, 1, 0.27, 0)
R(neuron_mirror_n4_p1, via1, [(0.153,0.018,0.171,0.036), (0.369,0.018,0.387,0.036), (0.531,0.018,0.549,0.036), (0.801,0.018,0.819,0.036), (1.449,0.018,1.467,0.036), (1.611,0.018,1.629,0.036), (1.881,0.018,1.899,0.036), (2.097,0.018,2.115,0.036), (2.205,0.018,2.223,0.036), (2.475,0.018,2.493,0.036), (2.691,0.018,2.709,0.036), (3.069,0.018,3.087,0.036), (3.339,0.018,3.357,0.036), (3.555,0.018,3.573,0.036), (3.933,0.018,3.951,0.036), (4.797,0.018,4.815,0.036), (0.045,0.072,0.063,0.09), (0.261,0.072,0.279,0.09), (0.423,0.072,0.441,0.09), (0.639,0.072,0.657,0.09), (0.909,0.072,0.927,0.09), (1.071,0.072,1.089,0.09), (1.341,0.072,1.359,0.09), (1.503,0.072,1.521,0.09), (1.719,0.072,1.737,0.09), (1.989,0.072,2.007,0.09), (2.853,0.072,2.871,0.09), (2.961,0.072,2.979,0.09), (3.231,0.072,3.249,0.09), (3.447,0.072,3.465,0.09), (3.717,0.072,3.735,0.09), (3.825,0.072,3.843,0.09), (4.095,0.072,4.113,0.09), (4.257,0.072,4.275,0.09), (4.473,0.072,4.491,0.09), (4.581,0.072,4.599,0.09), (0.747,0.126,0.765,0.144), (0.855,0.126,0.873,0.144), (1.827,0.126,1.845,0.144), (1.935,0.126,1.953,0.144), (2.313,0.126,2.331,0.144), (2.529,0.126,2.547,0.144), (2.907,0.126,2.925,0.144), (3.015,0.126,3.033,0.144), (3.177,0.126,3.195,0.144), (3.393,0.126,3.411,0.144), (3.771,0.126,3.789,0.144), (3.879,0.126,3.897,0.144), (0.18,0.315,0.198,0.333), (0.396,0.315,0.414,0.333), (0.558,0.315,0.576,0.333), (0.774,0.315,0.792,0.333), (1.638,0.315,1.656,0.333), (1.854,0.315,1.872,0.333), (2.124,0.315,2.142,0.333), (2.34,0.315,2.358,0.333), (2.448,0.315,2.466,0.333), (2.718,0.315,2.736,0.333), (2.88,0.315,2.898,0.333), (3.204,0.315,3.222,0.333), (3.312,0.315,3.33,0.333), (3.582,0.315,3.6,0.333), (3.744,0.315,3.762,0.333), (4.716,0.315,4.734,0.333), (0.234,0.369,0.252,0.387), (0.612,0.369,0.63,0.387), (0.828,0.369,0.846,0.387), (1.098,0.369,1.116,0.387), (1.314,0.369,1.332,0.387), (1.692,0.369,1.71,0.387), (1.908,0.369,1.926,0.387), (2.178,0.369,2.196,0.387), (2.394,0.369,2.412,0.387), (2.556,0.369,2.574,0.387), (2.772,0.369,2.79,0.387), (2.934,0.369,2.952,0.387), (3.258,0.369,3.276,0.387), (3.42,0.369,3.438,0.387), (3.636,0.369,3.654,0.387), (3.798,0.369,3.816,0.387), (4.446,0.369,4.464,0.387), (4.77,0.369,4.788,0.387), (0.882,0.423,0.9,0.441), (1.962,0.423,1.98,0.441), (2.502,0.423,2.52,0.441), (2.826,0.423,2.844,0.441), (2.988,0.423,3.006,0.441), (3.366,0.423,3.384,0.441), (3.69,0.423,3.708,0.441), (3.852,0.423,3.87,0.441), (4.5,0.423,4.518,0.441), (4.824,0.423,4.842,0.441), (3.042,0.477,3.06,0.495), (3.906,0.477,3.924,0.495), (4.554,0.477,4.572,0.495), (0.909,0.585,0.927,0.603), (1.017,0.585,1.035,0.603), (1.989,0.585,2.007,0.603), (2.097,0.585,2.115,0.603), (2.421,0.585,2.439,0.603), (2.691,0.585,2.709,0.603), (2.799,0.585,2.817,0.603), (3.285,0.585,3.303,0.603), (3.555,0.585,3.573,0.603), (3.663,0.585,3.681,0.603), (4.041,0.585,4.059,0.603), (4.203,0.585,4.221,0.603), (4.419,0.585,4.437,0.603), (4.689,0.585,4.707,0.603), (0.045,0.639,0.063,0.657), (0.207,0.639,0.225,0.657), (0.423,0.639,0.441,0.657), (1.287,0.639,1.305,0.657), (1.503,0.639,1.521,0.657), (2.529,0.639,2.547,0.657), (3.015,0.639,3.033,0.657), (3.393,0.639,3.411,0.657), (3.879,0.639,3.897,0.657), (4.095,0.639,4.113,0.657), (4.257,0.639,4.275,0.657), (4.581,0.639,4.599,0.657), (4.851,0.639,4.869,0.657), (4.959,0.639,4.977,0.657), (2.367,0.693,2.385,0.711), (2.475,0.693,2.493,0.711), (2.745,0.693,2.763,0.711), (2.853,0.693,2.871,0.711), (3.069,0.693,3.087,0.711), (3.231,0.693,3.249,0.711), (3.339,0.693,3.357,0.711), (3.609,0.693,3.627,0.711), (3.717,0.693,3.735,0.711), (3.933,0.693,3.951,0.711), (4.365,0.693,4.383,0.711), (4.473,0.693,4.491,0.711), (2.313,0.747,2.331,0.765), (2.583,0.747,2.601,0.765), (3.177,0.747,3.195,0.765), (3.447,0.747,3.465,0.765)])
A(neuron_mirror_n4_p1, via2, 0.936, 0.018, 0.018, 0.018, 3, 2, 0.216, 0.567)
A(neuron_mirror_n4_p1, via2, 3.96, 0.018, 0.018, 0.018, 3, 2, 0.162, 0.567)
A(neuron_mirror_n4_p1, via2, 1.044, 0.315, 0.018, 0.018, 3, 1, 0.216, 0)
A(neuron_mirror_n4_p1, via2, 4.068, 0.315, 0.018, 0.018, 3, 1, 0.162, 0)
R(neuron_mirror_n4_p1, via2, [(0.288,0.018,0.306,0.036), (0.45,0.018,0.468,0.036), (0.666,0.018,0.684,0.036), (1.53,0.018,1.548,0.036), (1.746,0.018,1.764,0.036), (2.016,0.018,2.034,0.036), (2.232,0.018,2.25,0.036), (2.61,0.018,2.628,0.036), (3.096,0.018,3.114,0.036), (3.474,0.018,3.492,0.036), (4.608,0.018,4.626,0.036), (4.878,0.018,4.896,0.036), (0.18,0.315,0.198,0.333), (0.396,0.315,0.414,0.333), (0.558,0.315,0.576,0.333), (0.774,0.315,0.792,0.333), (1.638,0.315,1.656,0.333), (1.854,0.315,1.872,0.333), (2.124,0.315,2.142,0.333), (2.34,0.315,2.358,0.333), (2.718,0.315,2.736,0.333), (3.204,0.315,3.222,0.333), (3.582,0.315,3.6,0.333), (4.716,0.315,4.734,0.333), (0.234,0.369,0.252,0.387), (0.612,0.369,0.63,0.387), (0.828,0.369,0.846,0.387), (1.098,0.369,1.116,0.387), (1.314,0.369,1.332,0.387), (1.692,0.369,1.71,0.387), (1.908,0.369,1.926,0.387), (2.178,0.369,2.196,0.387), (2.394,0.369,2.412,0.387), (2.772,0.369,2.79,0.387), (3.258,0.369,3.276,0.387), (3.636,0.369,3.654,0.387), (4.446,0.369,4.464,0.387), (4.77,0.369,4.788,0.387), (0.882,0.423,0.9,0.441), (1.962,0.423,1.98,0.441), (2.502,0.423,2.52,0.441), (2.826,0.423,2.844,0.441), (3.366,0.423,3.384,0.441), (3.69,0.423,3.708,0.441), (4.5,0.423,4.518,0.441), (4.824,0.423,4.842,0.441), (3.042,0.477,3.06,0.495), (3.906,0.477,3.924,0.495), (4.554,0.477,4.572,0.495), (0.288,0.585,0.306,0.603), (0.45,0.585,0.468,0.603), (0.666,0.585,0.684,0.603), (1.53,0.585,1.548,0.603), (1.746,0.585,1.764,0.603), (2.016,0.585,2.034,0.603), (2.232,0.585,2.25,0.603), (2.61,0.585,2.628,0.603), (3.096,0.585,3.114,0.603), (3.474,0.585,3.492,0.603), (4.608,0.585,4.626,0.603), (4.878,0.585,4.896,0.603)])
A(neuron_mirror_n4_p1, metal3, 0.936, 0.013, 0.018, 0.595, 3, 1, 0.216, 0)
A(neuron_mirror_n4_p1, metal3, 3.96, 0.013, 0.018, 0.595, 3, 1, 0.162, 0)
A(neuron_mirror_n4_p1, metal3, 2.718, 0.31, 0.018, 0.823, 3, 1, 0.756, 0)
R(neuron_mirror_n4_p1, metal3, [(0.288,0.013,0.306,0.608), (0.45,0.013,0.468,0.608), (0.666,0.013,0.684,0.608), (1.53,0.013,1.548,0.608), (1.746,0.013,1.764,0.608), (2.016,0.013,2.034,0.608), (2.232,0.013,2.25,0.608), (2.61,0.013,2.628,0.608), (3.096,0.013,3.114,0.608), (3.474,0.013,3.492,0.608), (4.608,0.013,4.626,0.608), (4.878,0.013,4.896,0.608), (0.18,0.31,0.198,0.893), (0.288,0.31,0.306,0.941), (0.396,0.31,0.414,0.941), (0.45,0.31,0.468,1.133), (0.558,0.31,0.576,0.893), (0.666,0.31,0.684,0.989), (0.774,0.31,0.792,0.893), (0.936,0.31,0.954,0.893), (1.044,0.31,1.062,0.941), (1.152,0.31,1.17,0.989), (1.26,0.31,1.278,0.893), (1.368,0.31,1.386,1.085), (1.476,0.31,1.494,1.085), (1.53,0.31,1.548,0.941), (1.638,0.31,1.656,0.893), (1.746,0.31,1.764,1.037), (1.854,0.31,1.872,0.893), (2.016,0.31,2.034,0.893), (2.124,0.31,2.142,1.085), (2.232,0.31,2.25,1.085), (2.34,0.31,2.358,1.133), (2.61,0.31,2.628,1.037), (3.096,0.31,3.114,0.941), (3.204,0.31,3.222,0.989), (3.582,0.31,3.6,0.989), (3.96,0.31,3.978,0.893), (4.068,0.31,4.086,0.893), (4.122,0.31,4.14,0.989), (4.284,0.31,4.302,0.893), (4.392,0.31,4.41,1.037), (4.608,0.31,4.626,0.941), (4.716,0.31,4.734,1.037), (4.878,0.31,4.896,0.989), (0.234,0.364,0.252,1.037), (0.612,0.364,0.63,1.037), (0.828,0.364,0.846,1.037), (1.098,0.364,1.116,0.893), (1.314,0.364,1.332,1.181), (1.692,0.364,1.71,1.181), (1.908,0.364,1.926,1.181), (2.178,0.364,2.196,0.893), (2.394,0.364,2.412,0.941), (2.772,0.364,2.79,0.941), (3.258,0.364,3.276,1.085), (3.636,0.364,3.654,1.085), (4.446,0.364,4.464,0.989), (4.77,0.364,4.788,0.989), (0.882,0.418,0.9,0.989), (1.962,0.418,1.98,1.037), (2.502,0.418,2.52,0.893), (2.826,0.418,2.844,0.893), (3.366,0.418,3.384,0.893), (3.69,0.418,3.708,0.893), (4.5,0.418,4.518,0.941), (4.824,0.418,4.842,0.893), (3.042,0.472,3.06,1.037), (3.906,0.472,3.924,1.133), (4.554,0.472,4.572,0.893)])
A(neuron_mirror_n4_p1, via3, 0.774, 0.864, 0.018, 0.024, 4, 1, 0.162, 0)
A(neuron_mirror_n4_p1, via3, 1.854, 0.864, 0.018, 0.024, 3, 1, 0.162, 0)
A(neuron_mirror_n4_p1, via3, 4.284, 0.864, 0.018, 0.024, 3, 1, 0.27, 0)
A(neuron_mirror_n4_p1, via3, 4.122, 0.96, 0.018, 0.024, 3, 1, 0.324, 0)
R(neuron_mirror_n4_p1, via3, [(0.18,0.864,0.198,0.888), (0.558,0.864,0.576,0.888), (1.638,0.864,1.656,0.888), (2.502,0.864,2.52,0.888), (2.826,0.864,2.844,0.888), (3.366,0.864,3.384,0.888), (3.69,0.864,3.708,0.888), (3.96,0.864,3.978,0.888), (4.068,0.864,4.086,0.888), (0.288,0.912,0.306,0.936), (0.396,0.912,0.414,0.936), (1.044,0.912,1.062,0.936), (1.53,0.912,1.548,0.936), (2.394,0.912,2.412,0.936), (2.772,0.912,2.79,0.936), (3.096,0.912,3.114,0.936), (4.5,0.912,4.518,0.936), (4.608,0.912,4.626,0.936), (0.666,0.96,0.684,0.984), (0.882,0.96,0.9,0.984), (1.152,0.96,1.17,0.984), (3.204,0.96,3.222,0.984), (3.582,0.96,3.6,0.984), (4.878,0.96,4.896,0.984), (0.234,1.008,0.252,1.032), (0.612,1.008,0.63,1.032), (0.828,1.008,0.846,1.032), (1.746,1.008,1.764,1.032), (1.962,1.008,1.98,1.032), (2.61,1.008,2.628,1.032), (3.042,1.008,3.06,1.032), (4.392,1.008,4.41,1.032), (4.716,1.008,4.734,1.032), (1.368,1.056,1.386,1.08), (1.476,1.056,1.494,1.08), (2.124,1.056,2.142,1.08), (2.232,1.056,2.25,1.08), (3.258,1.056,3.276,1.08), (3.636,1.056,3.654,1.08), (0.45,1.104,0.468,1.128), (2.34,1.104,2.358,1.128), (2.718,1.104,2.736,1.128), (3.474,1.104,3.492,1.128), (3.906,1.104,3.924,1.128), (4.23,1.104,4.248,1.128), (1.314,1.152,1.332,1.176), (1.692,1.152,1.71,1.176), (1.908,1.152,1.926,1.176)])
R(neuron_mirror_n4_p1, metal4, [(0.167,0.864,0.211,0.888), (0.545,0.864,0.805,0.888), (0.923,0.864,1.129,0.888), (1.247,0.864,1.291,0.888), (1.625,0.864,1.885,0.888), (2.003,0.864,2.209,0.888), (2.489,0.864,2.857,0.888), (3.353,0.864,3.721,0.888), (3.947,0.864,4.099,0.888), (4.271,0.864,4.855,0.888), (0.275,0.912,1.075,0.936), (1.517,0.912,2.803,0.936), (3.083,0.912,4.531,0.936), (4.595,0.912,4.639,0.936), (0.653,0.96,0.913,0.984), (1.139,0.96,3.613,0.984), (4.109,0.96,4.801,0.984), (4.865,0.96,4.909,0.984), (0.221,1.008,0.265,1.032), (0.599,1.008,0.859,1.032), (1.733,1.008,1.993,1.032), (2.597,1.008,4.747,1.032), (1.355,1.056,2.155,1.08), (2.219,1.056,3.667,1.08), (0.437,1.104,2.749,1.128), (3.461,1.104,4.261,1.128), (1.301,1.152,1.345,1.176), (1.679,1.152,1.939,1.176)])
A(neuron_mirror_n4_p1, sdt, 0.042, 0.189, 0.024, 0.108, 4, 1, 0.108, 0)
A(neuron_mirror_n4_p1, sdt, 0.42, 0.189, 0.024, 0.108, 4, 1, 0.108, 0)
A(neuron_mirror_n4_p1, sdt, 0.798, 0.189, 0.024, 0.108, 3, 1, 0.054, 0)
A(neuron_mirror_n4_p1, sdt, 1.014, 0.189, 0.024, 0.108, 3, 1, 0.054, 0)
A(neuron_mirror_n4_p1, sdt, 1.23, 0.189, 0.024, 0.108, 3, 1, 0.108, 0)
A(neuron_mirror_n4_p1, sdt, 1.5, 0.189, 0.024, 0.108, 4, 1, 0.108, 0)
A(neuron_mirror_n4_p1, sdt, 1.878, 0.189, 0.024, 0.108, 3, 1, 0.054, 0)
A(neuron_mirror_n4_p1, sdt, 2.094, 0.189, 0.024, 0.108, 3, 1, 0.054, 0)
A(neuron_mirror_n4_p1, sdt, 2.472, 0.189, 0.024, 0.108, 3, 1, 0.054, 0)
A(neuron_mirror_n4_p1, sdt, 2.85, 0.189, 0.024, 0.108, 5, 1, 0.054, 0)
A(neuron_mirror_n4_p1, sdt, 3.336, 0.189, 0.024, 0.108, 3, 1, 0.054, 0)
A(neuron_mirror_n4_p1, sdt, 3.714, 0.189, 0.024, 0.108, 5, 1, 0.054, 0)
A(neuron_mirror_n4_p1, sdt, 4.254, 0.189, 0.024, 0.108, 3, 1, 0.108, 0)
A(neuron_mirror_n4_p1, sdt, 4.686, 0.189, 0.024, 0.108, 4, 1, 0.054, 0)
A(neuron_mirror_n4_p1, sdt, 0.15, 0.513, 0.024, 0.027, 3, 1, 0.054, 0)
A(neuron_mirror_n4_p1, sdt, 0.528, 0.513, 0.024, 0.027, 3, 1, 0.054, 0)
A(neuron_mirror_n4_p1, sdt, 0.906, 0.513, 0.024, 0.027, 4, 1, 0.108, 0)
A(neuron_mirror_n4_p1, sdt, 1.608, 0.513, 0.024, 0.027, 3, 1, 0.054, 0)
A(neuron_mirror_n4_p1, sdt, 1.986, 0.513, 0.024, 0.027, 4, 1, 0.108, 0)
A(neuron_mirror_n4_p1, sdt, 2.364, 0.513, 0.024, 0.027, 5, 1, 0.054, 0)
A(neuron_mirror_n4_p1, sdt, 2.688, 0.513, 0.024, 0.027, 4, 1, 0.054, 0)
A(neuron_mirror_n4_p1, sdt, 3.174, 0.513, 0.024, 0.027, 6, 1, 0.054, 0)
A(neuron_mirror_n4_p1, sdt, 3.552, 0.513, 0.024, 0.027, 4, 1, 0.054, 0)
A(neuron_mirror_n4_p1, sdt, 4.362, 0.513, 0.024, 0.027, 3, 1, 0.054, 0)
R(neuron_mirror_n4_p1, sdt, [(2.31,0.189,2.334,0.297), (2.364,0.189,2.388,0.297), (2.688,0.189,2.712,0.297), (3.174,0.189,3.198,0.297), (3.228,0.189,3.252,0.297), (3.552,0.189,3.576,0.297), (4.038,0.189,4.062,0.297), (4.092,0.189,4.116,0.297), (4.2,0.189,4.224,0.297), (4.524,0.189,4.548,0.297), (4.578,0.189,4.602,0.297), (4.956,0.189,4.98,0.297), (0.042,0.513,0.066,0.567), (0.366,0.513,0.39,0.54), (0.42,0.513,0.444,0.54), (0.744,0.513,0.768,0.54), (0.852,0.513,0.876,0.54), (1.284,0.513,1.308,0.54), (1.338,0.513,1.362,0.54), (1.446,0.513,1.47,0.54), (1.5,0.513,1.524,0.54), (1.824,0.513,1.848,0.54), (1.932,0.513,1.956,0.54), (3.012,0.513,3.036,0.54), (3.066,0.513,3.09,0.54), (3.876,0.513,3.9,0.54), (3.93,0.513,3.954,0.54), (4.038,0.513,4.062,0.54), (4.092,0.513,4.116,0.54), (4.2,0.513,4.224,0.54), (4.254,0.513,4.278,0.54), (4.578,0.513,4.602,0.54), (4.686,0.513,4.71,0.54), (4.848,0.513,4.872,0.54), (4.956,0.513,4.98,0.567)])
R(neuron_mirror_n4_p1, boundary, [(0,0,5.022,1.2)])
neuron_mirror_n4_p1.add(gdstk.Label('VSS', (0.054,0.081), layer=20, texttype=251))
neuron_mirror_n4_p1.add(gdstk.Label('VDD', (0.054,0.648), layer=20, texttype=251))
neuron_mirror_n4_p1.add(gdstk.Label('VSS', (0.054,0.189), layer=3, texttype=251))
neuron_mirror_n4_p1.add(gdstk.Label('VDD', (0.054,0.513), layer=1, texttype=251))
neuron_mirror_n4_p1.add(gdstk.Label('i0', (0.189,0.876), layer=40, texttype=251))
neuron_mirror_n4_p1.add(gdstk.Label('i4', (0.243,1.02), layer=40, texttype=251))
neuron_mirror_n4_p1.add(gdstk.Label('i1', (0.567,0.876), layer=40, texttype=251))
neuron_mirror_n4_p1.add(gdstk.Label('i5', (0.621,1.02), layer=40, texttype=251))
neuron_mirror_n4_p1.add(gdstk.Label('i2', (1.269,0.876), layer=40, texttype=251))
neuron_mirror_n4_p1.add(gdstk.Label('i6', (1.323,1.164), layer=40, texttype=251))
neuron_mirror_n4_p1.add(gdstk.Label('i3', (1.647,0.876), layer=40, texttype=251))
neuron_mirror_n4_p1.add(gdstk.Label('i7', (1.701,1.164), layer=40, texttype=251))
neuron_mirror_n4_p1.add(gdstk.Label('i8', (2.511,0.876), layer=40, texttype=251))
neuron_mirror_n4_p1.add(gdstk.Label('i9', (3.375,0.876), layer=40, texttype=251))
neuron_mirror_n4_p1.add(gdstk.Label('n18', (4.617,0.924), layer=40, texttype=251))
neuron_mirror_n4_p1.add(gdstk.Label('n19', (4.887,0.972), layer=40, texttype=251))

lib.write_gds('neuron_mirror_n4_p1.gds')
